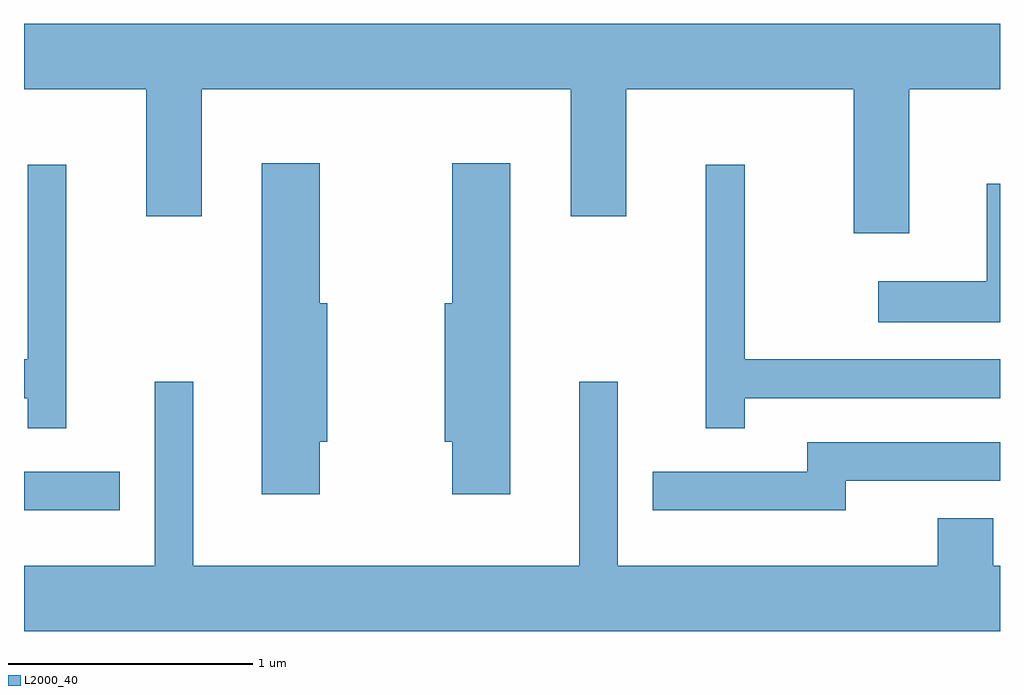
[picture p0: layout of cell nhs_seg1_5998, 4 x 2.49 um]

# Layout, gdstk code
import gdstk
lib = gdstk.Library(unit=1e-6, precision=1e-09)
def R(c, l, rs):  # rectangles x0, y0, x1, y1
    for r in rs: c.add(gdstk.rectangle(r[:2], r[2:], *l))
def P(c, l, *ps):  # polygons
    for p in ps: c.add(gdstk.Polygon(p, *l))
L2000_40 = (2000, 40)

nhs_seg1_5998 = lib.new_cell('nhs_seg1_5998')
R(nhs_seg1_5998, L2000_40, [(365.611,928.931,366.003,929.089)])
P(nhs_seg1_5998, L2000_40, [(369.239,930.656),(369.611,930.656),(369.611,930.924),(365.611,930.924),(365.611,930.656),(366.111,930.656),(366.111,930.136),(366.339,930.136),(366.339,930.656),(367.851,930.656),(367.851,930.136),(368.079,930.136),(368.079,930.656),(369.011,930.656),(369.011,930.066),(369.239,930.066)],
  [(366.824,929.211),(366.854,929.211),(366.854,929.779),(366.824,929.779),(366.824,930.354),(366.586,930.354),(366.586,928.996),(366.824,928.996)],
  [(367.604,930.354),(367.366,930.354),(367.366,929.779),(367.336,929.779),(367.336,929.211),(367.366,929.211),(367.366,928.996),(367.604,928.996)],
  [(368.564,929.391),(369.611,929.391),(369.611,929.549),(368.564,929.549),(368.564,930.348),(368.406,930.348),(368.406,929.268),(368.564,929.268)],
  [(365.784,930.348),(365.626,930.348),(365.626,929.549),(365.611,929.549),(365.611,929.391),(365.626,929.391),(365.626,929.268),(365.784,929.268)],
  [(369.611,930.269),(369.556,930.269),(369.556,929.869),(369.113,929.869),(369.113,929.701),(369.611,929.701)],
  [(369.611,928.704),(369.584,928.704),(369.584,928.899),(369.356,928.899),(369.356,928.704),(368.044,928.704),(368.044,929.458),(367.886,929.458),(367.886,928.704),(366.304,928.704),(366.304,929.458),(366.146,929.458),(366.146,928.704),(365.611,928.704),(365.611,928.436),(369.611,928.436)],
  [(368.979,929.051),(369.611,929.051),(369.611,929.209),(368.821,929.209),(368.821,929.089),(368.188,929.089),(368.188,928.931),(368.979,928.931)])

lib.write_gds('nhs_seg1_5998.gds')
